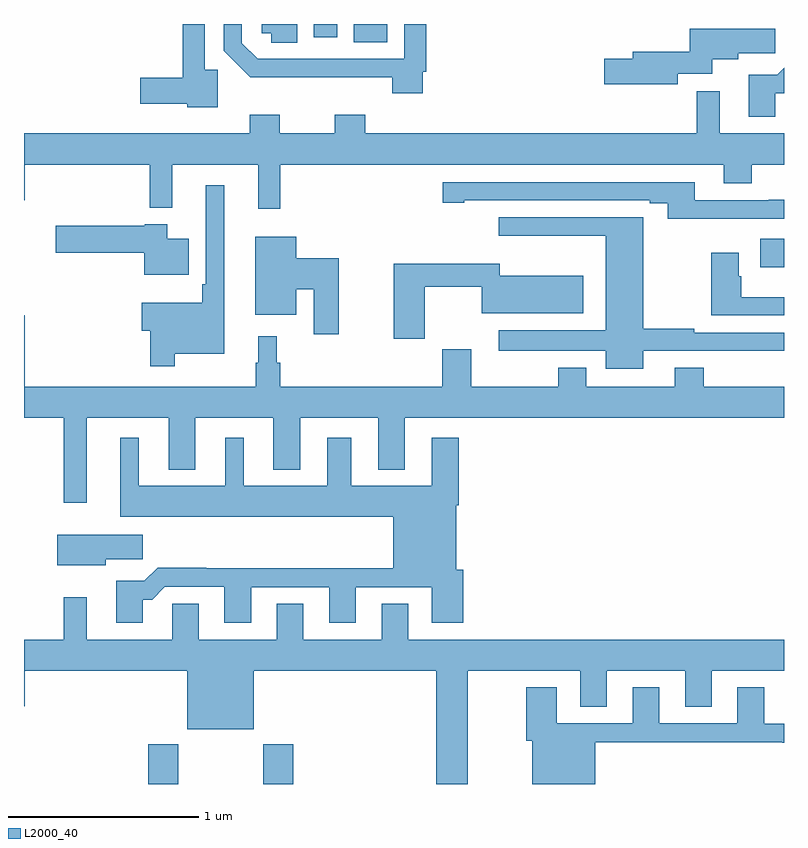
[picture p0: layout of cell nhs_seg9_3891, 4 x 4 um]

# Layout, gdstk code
import gdstk
lib = gdstk.Library(unit=1e-6, precision=1e-09)
def R(c, l, rs):  # rectangles x0, y0, x1, y1
    for r in rs: c.add(gdstk.rectangle(r[:2], r[2:], *l))
def P(c, l, *ps):  # polygons
    for p in ps: c.add(gdstk.Polygon(p, *l))
L2000_40 = (2000, 40)

nhs_seg9_3891 = lib.new_cell('nhs_seg9_3891')
R(nhs_seg9_3891, L2000_40, [(333.653,1186.5,333.813,1186.708), (334.258,1186.5,334.418,1186.708), (336.876,1189.22,337,1189.369), (334.736,1190.405,334.912,1190.5), (334.526,1190.43,334.648,1190.5)])
P(nhs_seg9_3891, L2000_40, [(335.098,1190.248),(335.117,1190.248),(335.117,1190.5),(335.001,1190.5),(335.001,1190.316),(334.23,1190.316),(334.146,1190.4),(334.146,1190.5),(334.05,1190.5),(334.05,1190.36),(334.191,1190.219),(334.937,1190.219),(334.937,1190.136),(335.098,1190.136)],
  [(334.02,1190.259),(333.951,1190.259),(333.951,1190.5),(333.835,1190.5),(333.835,1190.216),(333.612,1190.216),(333.612,1190.081),(333.858,1190.081),(333.858,1190.063),(334.02,1190.063)],
  [(334.438,1190.5),(334.25,1190.5),(334.25,1190.451),(334.302,1190.451),(334.302,1190.401),(334.438,1190.401)],
  [(336.442,1190.238),(336.623,1190.238),(336.623,1190.315),(336.76,1190.315),(336.76,1190.347),(336.955,1190.347),(336.955,1190.476),(336.505,1190.476),(336.505,1190.354),(336.203,1190.354),(336.203,1190.318),(336.054,1190.318),(336.054,1190.183),(336.442,1190.183)],
  [(336.955,1190.135),(337,1190.135),(337,1190.269),(336.964,1190.233),(336.815,1190.233),(336.815,1190.013),(336.955,1190.013)],
  [(334.349,1189.76),(336.683,1189.76),(336.683,1189.661),(336.831,1189.661),(336.831,1189.76),(337,1189.76),(337,1189.924),(336.661,1189.924),(336.661,1190.146),(336.54,1190.146),(336.54,1189.924),(334.796,1189.924),(334.796,1190.023),(334.636,1190.023),(334.636,1189.924),(334.347,1189.924),(334.347,1190.023),(334.187,1190.023),(334.187,1189.924),(333,1189.924),(333,1189.572),(333.004,1189.572),(333.004,1189.76),(333.661,1189.76),(333.661,1189.532),(333.779,1189.532),(333.779,1189.76),(334.232,1189.76),(334.232,1189.527),(334.349,1189.527)],
  [(336.788,1189.476),(337,1189.476),(337,1189.574),(336.919,1189.574),(336.919,1189.572),(336.529,1189.572),(336.529,1189.668),(335.205,1189.668),(335.205,1189.56),(335.317,1189.56),(335.317,1189.572),(336.293,1189.572),(336.293,1189.556),(336.389,1189.556),(336.389,1189.475),(336.788,1189.475)],
  [(333.793,1188.764),(334.054,1188.764),(334.054,1189.651),(333.957,1189.651),(333.957,1189.129),(333.937,1189.129),(333.937,1189.033),(333.62,1189.033),(333.62,1188.886),(333.664,1188.886),(333.664,1188.699),(333.793,1188.699)],
  [(336.259,1188.78),(336.661,1188.78),(336.661,1188.779),(337,1188.779),(337,1188.876),(336.527,1188.876),(336.527,1188.896),(336.259,1188.896),(336.259,1189.379),(336.258,1189.379),(336.258,1189.482),(335.499,1189.482),(335.499,1189.385),(336.062,1189.385),(336.062,1188.889),(335.499,1188.889),(335.499,1188.779),(336.062,1188.779),(336.062,1188.686),(336.259,1188.686)],
  [(333.868,1189.369),(333.754,1189.369),(333.754,1189.447),(333.636,1189.447),(333.636,1189.437),(333.168,1189.437),(333.168,1189.295),(333.632,1189.295),(333.632,1189.181),(333.868,1189.181)],
  [(334.656,1189.268),(334.432,1189.268),(334.432,1189.381),(334.217,1189.381),(334.217,1188.971),(334.432,1188.971),(334.432,1189.103),(334.526,1189.103),(334.526,1188.867),(334.656,1188.867)],
  [(337,1189.063),(336.776,1189.063),(336.776,1189.172),(336.763,1189.172),(336.763,1189.297),(336.616,1189.297),(336.616,1188.966),(337,1188.966)],
  [(335.11,1189.116),(335.409,1189.116),(335.409,1188.977),(335.944,1188.977),(335.944,1189.174),(335.505,1189.174),(335.505,1189.237),(334.945,1189.237),(334.945,1188.843),(335.11,1188.843)],
  [(333.331,1188.428),(333.761,1188.428),(333.761,1188.155),(333.901,1188.155),(333.901,1188.428),(334.313,1188.428),(334.313,1188.155),(334.453,1188.155),(334.453,1188.428),(334.865,1188.428),(334.865,1188.155),(335.005,1188.155),(335.005,1188.428),(337,1188.428),(337,1188.592),(336.578,1188.592),(336.578,1188.691),(336.425,1188.691),(336.425,1188.592),(335.959,1188.592),(335.959,1188.691),(335.812,1188.691),(335.812,1188.592),(335.353,1188.592),(335.353,1188.787),(335.201,1188.787),(335.201,1188.592),(334.349,1188.592),(334.349,1188.716),(334.331,1188.716),(334.331,1188.856),(334.232,1188.856),(334.232,1188.716),(334.221,1188.716),(334.221,1188.592),(333.004,1188.592),(333.004,1188.967),(333,1188.967),(333,1188.428),(333.21,1188.428),(333.21,1187.979),(333.331,1187.979)],
  [(333.625,1187.471),(333.674,1187.471),(333.741,1187.538),(334.055,1187.538),(334.055,1187.349),(334.195,1187.349),(334.195,1187.535),(334.607,1187.535),(334.607,1187.349),(334.747,1187.349),(334.747,1187.535),(335.147,1187.535),(335.147,1187.349),(335.312,1187.349),(335.312,1187.628),(335.275,1187.628),(335.275,1187.966),(335.288,1187.966),(335.288,1188.322),(335.147,1188.322),(335.147,1188.07),(334.723,1188.07),(334.723,1188.322),(334.595,1188.322),(334.595,1188.07),(334.156,1188.07),(334.156,1188.322),(334.058,1188.322),(334.058,1188.07),(333.604,1188.07),(333.604,1188.322),(333.506,1188.322),(333.506,1187.906),(334.943,1187.906),(334.943,1187.636),(333.959,1187.636),(333.959,1187.639),(333.704,1187.639),(333.634,1187.569),(333.485,1187.569),(333.485,1187.349),(333.625,1187.349)],
  [(333.43,1187.683),(333.625,1187.683),(333.625,1187.812),(333.176,1187.812),(333.176,1187.651),(333.43,1187.651)],
  [(335.335,1187.096),(335.927,1187.096),(335.927,1186.906),(336.067,1186.906),(336.067,1187.096),(336.479,1187.096),(336.479,1186.906),(336.619,1186.906),(336.619,1187.096),(337,1187.096),(337,1187.26),(335.023,1187.26),(335.023,1187.45),(334.883,1187.45),(334.883,1187.26),(334.471,1187.26),(334.471,1187.45),(334.331,1187.45),(334.331,1187.26),(333.919,1187.26),(333.919,1187.45),(333.78,1187.45),(333.78,1187.26),(333.331,1187.26),(333.331,1187.482),(333.21,1187.482),(333.21,1187.26),(333,1187.26),(333,1186.908),(333.004,1186.908),(333.004,1187.096),(333.86,1187.096),(333.86,1186.787),(334.21,1186.787),(334.21,1187.096),(335.171,1187.096),(335.171,1186.5),(335.335,1186.5)],
  [(336.007,1186.72),(336.991,1186.72),(336.991,1186.718),(337,1186.718),(337,1186.818),(336.895,1186.818),(336.895,1187.008),(336.755,1187.008),(336.755,1186.821),(336.343,1186.821),(336.343,1187.008),(336.203,1187.008),(336.203,1186.821),(335.803,1186.821),(335.803,1187.008),(335.644,1187.008),(335.644,1186.728),(335.675,1186.728),(335.675,1186.5),(336.007,1186.5)])

lib.write_gds('nhs_seg9_3891.gds')
